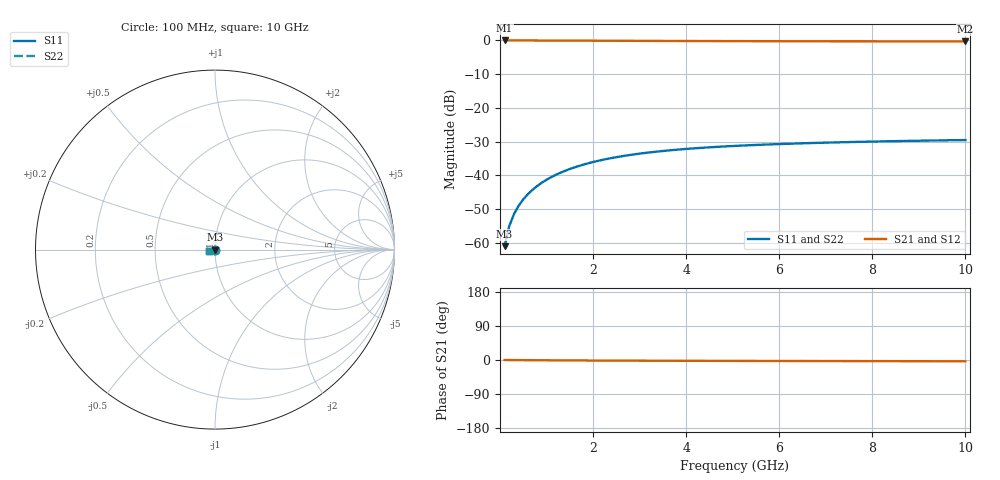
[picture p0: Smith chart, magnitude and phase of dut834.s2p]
! Touchstone file exported from HFSS 2024.1.0
!  File:  C:/UserFiles/LocalFiles/RDL_TSV_Batchsim/temp_TSV1_834_1779879538.aedt
!  Generated:  07:03:49 PM May 27, 2026
!  Design:  TSV1
!  Project:  temp_TSV1_834_1779879538
!  Setup:  Setup1
!  Solution:  Sweep
! Variables:
!  dtsv = 11.13um
!  hbump = 3um
!  htsv = 50.04um
!  lrdl = 252.1521522um
!  p = 40
!  p1 = 43.63um
!  t = 500um
!  trdl = 3um
!  wrdl = 24.89489489um
# GHz S MA R 50.000000
! Terminal data exported
! Port[1] = TSV22_T1
! Port[2] = TSV22_T2
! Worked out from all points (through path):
!   100 points, 100 MHz to 10 GHz, reference 50 ohm
!   highest |S21| = 0.00 dB at 100 MHz (marker M1); lowest = -0.3 dB at 10 GHz (marker M2)
!   lowest |S11| = -61.0 dB at 100 MHz (marker M3), VSWR 1.00, Z = 50 - j0.0889 ohm
!   |S11| at or under -10 dB: start of sweep to end of sweep
!   |S22| runs from -61.0 to -29.5 dB; largest |S21 - S12| = 3.6e-15
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0.1  0.0008912 -85.7  0.9999 -0.1  0.9999 -0.1  0.0008912 -85.7
! Gamma 0 0 0 0
! Port Impedance 50 0 50 0
0.2  0.001774 -90.3  0.9998 -0.2  0.9998 -0.2  0.001774 -90.3
0.3  0.002655 -92.9  0.9997 -0.2  0.9997 -0.2  0.002655 -92.9
0.4  0.003531 -95.0  0.9995 -0.3  0.9995 -0.3  0.003531 -95.0
0.5  0.004401 -96.9  0.9992 -0.4  0.9992 -0.4  0.004401 -96.9
0.6  0.005263 -98.6  0.999 -0.5  0.999 -0.5  0.005263 -98.6
0.7  0.006115 -100.3  0.9986 -0.6  0.9986 -0.6  0.006115 -100.3
0.8  0.006956 -102.0  0.9983 -0.6  0.9983 -0.6  0.006956 -102.0
0.9  0.007784 -103.6  0.9979 -0.7  0.9979 -0.7  0.007784 -103.6
1.1  0.009396 -106.7  0.997 -0.9  0.997 -0.9  0.009396 -106.7
1.4  0.01169 -111.1  0.9954 -1.1  0.9954 -1.1  0.01169 -111.1
1.6  0.01312 -113.8  0.9943 -1.2  0.9943 -1.2  0.01312 -113.8
1.8  0.01448 -116.5  0.9932 -1.3  0.9932 -1.3  0.01448 -116.5
2.1  0.01636 -120.3  0.9914 -1.4  0.9914 -1.4  0.01636 -120.3
2.5  0.01859 -124.9  0.989 -1.6  0.989 -1.6  0.01859 -124.9
2.9  0.02054 -129.1  0.9867 -1.8  0.9867 -1.8  0.02054 -129.1
3.4  0.0226 -133.8  0.984 -1.9  0.984 -1.9  0.0226 -133.8
4.2  0.02522 -140.3  0.9803 -2.2  0.9803 -2.2  0.02522 -140.3
5.1  0.02742 -146.2  0.9768 -2.4  0.9768 -2.4  0.02742 -146.2
6.7  0.03014 -154.4  0.9722 -2.7  0.9722 -2.7  0.03014 -154.4
8.4  0.03207 -161.1  0.9689 -3.1  0.9689 -3.1  0.03207 -161.1
10  0.03337 -166.4  0.9667 -3.4  0.9667 -3.4  0.03337 -166.4
